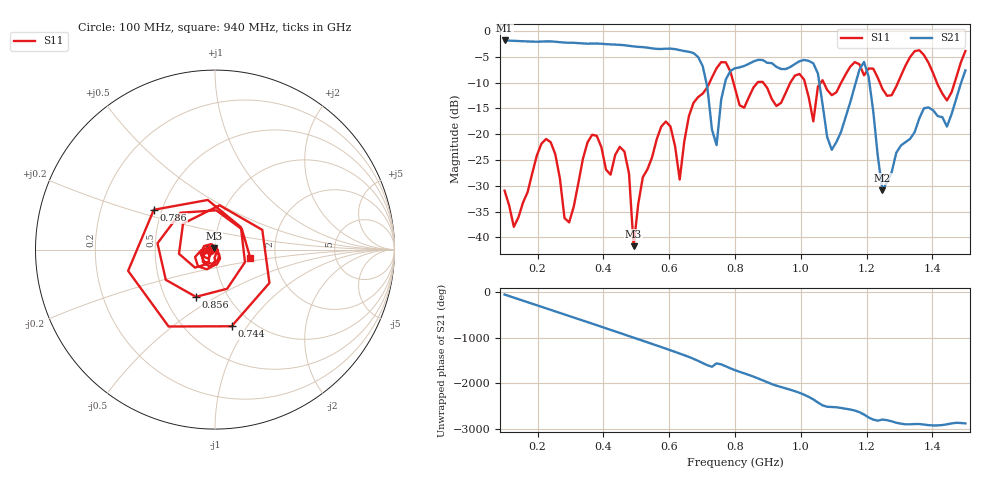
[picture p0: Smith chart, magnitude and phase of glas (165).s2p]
! NanoVNA-App
! Date: 2025-09-25 15:56:45
! Start: 100MHz Stop: 1,5GHz Points: 101
! S-Parameter data: F S11 S21 S12 S22
# Hz S RI R 50
!  Frequency  S11_Real  S11_Imag  S21_Real  S21_Imag  S12_Real  S12_Imag  S22_Real  S22_Imag
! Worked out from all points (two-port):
!   101 points, 100 MHz to 1.5 GHz, reference 50 ohm
!   highest |S21| = -1.80 dB at 100 MHz (marker M1); lowest = -30.9 dB at 1.248 GHz (marker M2)
!   |S21| within 3 dB of the highest: start of sweep to 684.1 MHz
!   lowest |S11| = -41.7 dB at 492 MHz (marker M3), VSWR 1.02, Z = 49.5 + j0.644 ohm
!   |S11| at or under -10 dB: start of sweep to 722.5 MHz; 795.4 MHz to 868.1 MHz (72.68 MHz wide, 8.74 % of centre); 886 MHz to 968 MHz (81.99 MHz wide, 8.85 % of centre) (the widest 3 of 7)
!   S12 and S22 are empty: the file has one direction only
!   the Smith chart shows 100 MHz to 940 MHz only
!   S11 on the Smith chart (normalised r, x): 100 MHz: 0.95, -0.01; 744 MHz: 0.80, -0.85; 786 MHz: 0.45, +0.24; 856 MHz: 0.71, -0.41; 940 MHz: 1.48, -0.14
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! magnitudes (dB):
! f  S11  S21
! 100 MHz  -31.0  -1.8
! 128 MHz  -38.0  -1.9
! 226 MHz  -20.9  -2.0
! 296 MHz  -37.1  -2.2
! 338 MHz  -24.7  -2.4
! 464 MHz  -23.4  -2.7
! 492 MHz  -41.7  -3.0
! 576 MHz  -18.5  -3.5
! 632 MHz  -28.8  -3.7
! 702 MHz  -12.1  -6.8
! 744 MHz  -7.2  -22.1
! 786 MHz  -7.8  -7.7
! 800 MHz  -11.1  -7.2
! 856 MHz  -10.9  -5.9
! 940 MHz  -13.9  -7.3
! 996 MHz  -8.3  -5.8
! 1.038 GHz  -17.5  -6.2
! 1.094 GHz  -12.4  -23.0
! 1.192 GHz  -8.6  -6.0
! 1.248 GHz  -11.2  -30.9
! 1.276 GHz  -12.4  -27.4
! 1.5 GHz  -3.8  -7.6
